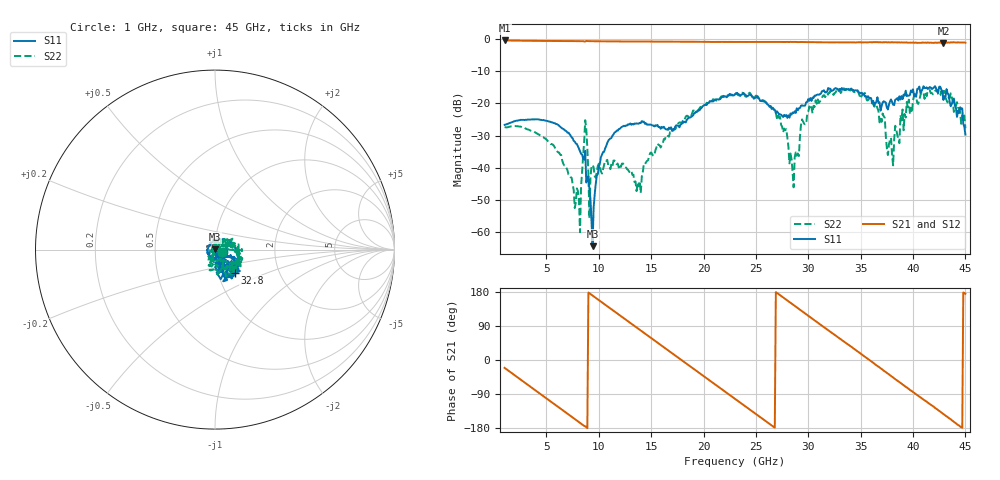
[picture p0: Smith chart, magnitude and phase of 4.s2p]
!Keysight Technologies,N5247B,MY61255062,A.19.80.06
!Date: Monday, May 18, 2026 12:41:06
!Correction: S11(Cdelta 2-Port  )
!S21(Cdelta 2-Port  )
!S12(Cdelta 2-Port  )
!S22(Cdelta 2-Port  )
!S2P File: Measurements: S11, S21, S12, S22:
# Hz S  dB  R 50
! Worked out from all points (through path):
!   441 points, 1 GHz to 45 GHz, reference 50 ohm
!   highest |S21| = -0.40 dB at 1 GHz (marker M1); lowest = -1.2 dB at 42.9 GHz (marker M2)
!   group delay of S21, straight-line fit = 55.8 ps
!   lowest |S11| = -64.4 dB at 9.4 GHz (marker M3), VSWR 1.00, Z = 50 + j0.0561 ohm
!   |S11| at or under -10 dB: start of sweep to end of sweep
!   |S22| runs from -60.0 to -15.3 dB; largest |S21 - S12| = 0.016
!   S11 on the Smith chart (normalised r, x): 1 GHz: 1.09, -0.02; 32.8 GHz: 1.20, -0.32; 45 GHz: 1.04, -0.06
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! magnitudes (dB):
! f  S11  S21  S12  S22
! 1 GHz  -26.6  -0.4  -0.4  -27.4
! 5.6 GHz  -25.9  -0.6  -0.6  -32.8
! 8 GHz  -33.3  -0.6  -0.6  -47.3
! 8.4 GHz  -35.9  -0.6  -0.6  -41.2
! 8.7 GHz  -34.7  -0.7  -0.7  -25.2
! 9.1 GHz  -46.7  -0.6  -0.6  -55.7
! 9.4 GHz  -64.4  -0.6  -0.6  -39.1
! 10 GHz  -39.7  -0.7  -0.7  -38.7
! 11.1 GHz  -30.9  -0.7  -0.7  -40.4
! 13.8 GHz  -26.3  -0.7  -0.7  -45.8
! 15.7 GHz  -27.3  -0.7  -0.7  -32.9
! 23 GHz  -17.2  -0.9  -0.9  -17.1
! 26.7 GHz  -21.8  -0.9  -0.8  -21.8
! 27.9 GHz  -23.6  -0.9  -0.9  -28.0
! 28.4 GHz  -23.5  -0.9  -0.9  -37.3
! 30.4 GHz  -18.2  -0.9  -0.9  -23.0
! 32.8 GHz  -15.4  -1.0  -1.0  -15.4
! 36 GHz  -18.3  -0.9  -0.9  -19.0
! 37.7 GHz  -20.3  -0.9  -1.0  -32.7
! 40.2 GHz  -17.2  -1.1  -1.1  -17.4
! 42.9 GHz  -18.9  -1.2  -1.2  -16.1
! 45 GHz  -29.7  -1.1  -1.1  -27.7
